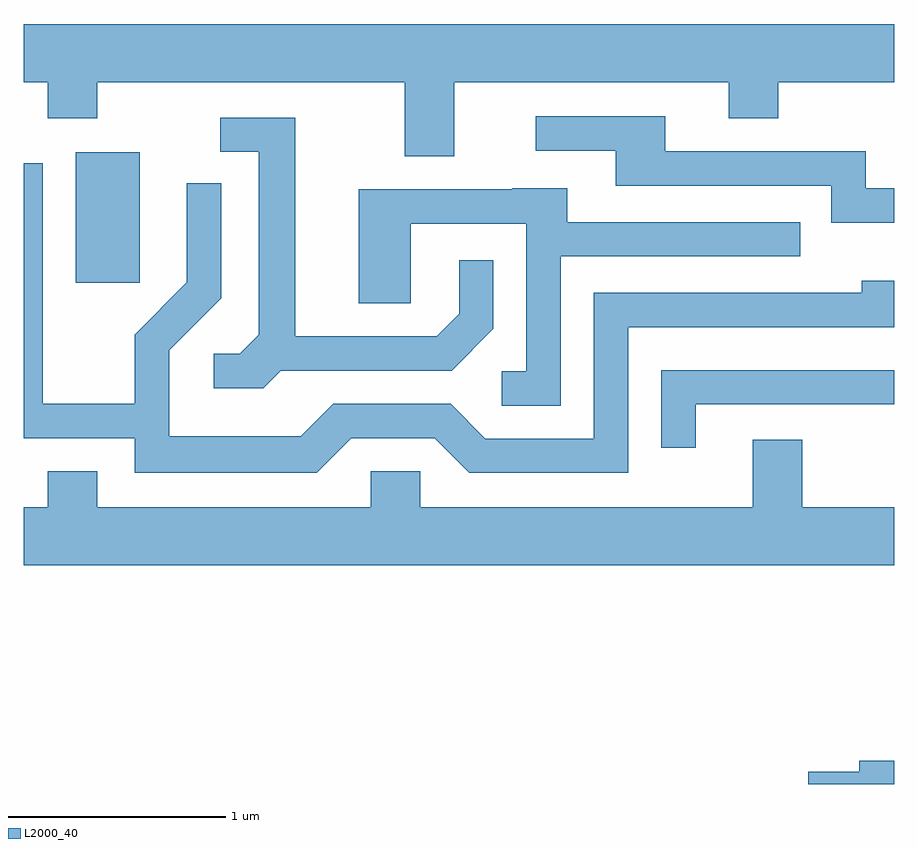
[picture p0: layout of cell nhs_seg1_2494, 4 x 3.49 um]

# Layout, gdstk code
import gdstk
lib = gdstk.Library(unit=1e-6, precision=1e-09)
def R(c, l, rs):  # rectangles x0, y0, x1, y1
    for r in rs: c.add(gdstk.rectangle(r[:2], r[2:], *l))
def P(c, l, *ps):  # polygons
    for p in ps: c.add(gdstk.Polygon(p, *l))
L2000_40 = (2000, 40)

nhs_seg1_2494 = lib.new_cell('nhs_seg1_2494')
R(nhs_seg1_2494, L2000_40, [(261.851,872.016,262.144,872.614)])
P(nhs_seg1_2494, L2000_40, [(263.589,872.936),(264.851,872.936),(264.851,872.771),(265.079,872.771),(265.079,872.936),(265.611,872.936),(265.611,873.204),(261.611,873.204),(261.611,872.936),(261.721,872.936),(261.721,872.771),(261.949,872.771),(261.949,872.936),(263.361,872.936),(263.361,872.596),(263.589,872.596)],
  [(265.611,872.449),(265.479,872.449),(265.479,872.619),(264.559,872.619),(264.559,872.779),(263.963,872.779),(263.963,872.621),(264.331,872.621),(264.331,872.461),(265.321,872.461),(265.321,872.291),(265.611,872.291)],
  [(262.792,871.611),(263.577,871.611),(263.769,871.804),(263.769,872.118),(263.611,872.118),(263.611,871.872),(263.509,871.769),(262.859,871.769),(262.859,872.774),(262.513,872.774),(262.513,872.616),(262.691,872.616),(262.691,871.777),(262.604,871.689),(262.483,871.689),(262.483,871.531),(262.712,871.531)],
  [(263.117,871.301),(263.499,871.301),(263.659,871.141),(264.389,871.141),(264.389,871.811),(265.611,871.811),(265.611,872.024),(265.461,872.024),(265.461,871.969),(264.231,871.969),(264.231,871.299),(263.732,871.299),(263.572,871.459),(263.034,871.459),(262.884,871.309),(262.279,871.309),(262.279,871.704),(262.519,871.944),(262.519,872.473),(262.361,872.473),(262.361,872.017),(262.121,871.777),(262.121,871.459),(261.699,871.459),(261.699,872.564),(261.611,872.564),(261.611,871.301),(262.121,871.301),(262.121,871.141),(262.957,871.141)],
  [(264.079,872.136),(265.178,872.136),(265.178,872.294),(264.109,872.294),(264.109,872.449),(263.855,872.449),(263.855,872.444),(263.151,872.444),(263.151,871.921),(263.389,871.921),(263.389,872.286),(263.921,872.286),(263.921,871.609),(263.808,871.609),(263.808,871.451),(264.079,871.451)],
  [(264.699,871.456),(265.611,871.456),(265.611,871.614),(264.541,871.614),(264.541,871.258),(264.699,871.258)],
  [(265.611,870.984),(265.189,870.984),(265.189,871.294),(264.961,871.294),(264.961,870.984),(263.434,870.984),(263.434,871.149),(263.206,871.149),(263.206,870.984),(261.949,870.984),(261.949,871.149),(261.721,871.149),(261.721,870.984),(261.611,870.984),(261.611,870.716),(265.611,870.716)],
  [(265.611,869.819),(265.451,869.819),(265.451,869.769),(265.216,869.769),(265.216,869.712),(265.611,869.712)])

lib.write_gds('nhs_seg1_2494.gds')
